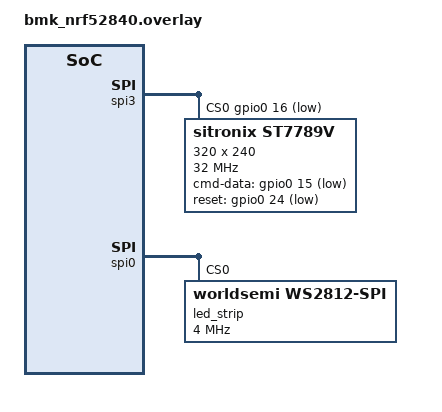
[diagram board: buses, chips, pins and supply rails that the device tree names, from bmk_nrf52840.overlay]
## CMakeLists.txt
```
# SPDX-License-Identifier: Apache-2.0

cmake_minimum_required(VERSION 3.20.0)
find_package(Zephyr REQUIRED HINTS $ENV{ZEPHYR_BASE})
project(bmk_firmware)

FILE(GLOB app_sources src/*.c)
target_sources(app PRIVATE
  src/main.c
  src/board.c
  src/matrix_keyboard.c
  src/led.c
  src/display.c
  src/i2c_devices.c
  src/charger.c
  src/lis2dh/lis2dh.c
  src/max17048/max17048.c
  src/pictures/gta_picture.c
  src/pictures/vsc_picture.c
  src/pictures/altium_picture.c
  src/pictures/logo_picture.c
  src/pictures/ble_picture.c
  src/pictures/battery_picture.c
  src/pictures/plug_picture.c

)
```

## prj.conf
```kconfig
#
# Copyright (c) 2018 Nordic Semiconductor
#
# SPDX-License-Identifier: LicenseRef-Nordic-5-Clause
#

CONFIG_NCS_SAMPLES_DEFAULTS=y

CONFIG_NFCT_PINS_AS_GPIOS=y

# Enable RTT LOGGING
#CONFIG_USE_SEGGER_RTT=y
#CONFIG_LOG=y
#CONFIG_CONSOLE=y
#CONFIG_RTT_CONSOLE=y

CONFIG_BT=y
#CONFIG_BT_DEBUG_LOG=y
CONFIG_BT_MAX_CONN=2
CONFIG_BT_MAX_PAIRED=2
CONFIG_BT_SMP=y
CONFIG_BT_L2CAP_TX_BUF_COUNT=5
CONFIG_BT_PERIPHERAL=y
CONFIG_BT_DEVICE_NAME="BMK keyboard"
CONFIG_BT_DEVICE_APPEARANCE=961

CONFIG_BT_BAS=y
CONFIG_BT_HIDS=y
CONFIG_BT_HIDS_MAX_CLIENT_COUNT=2
CONFIG_BT_HIDS_DEFAULT_PERM_RW_ENCRYPT=y
CONFIG_BT_GATT_UUID16_POOL_SIZE=40
CONFIG_BT_GATT_CHRC_POOL_SIZE=20

CONFIG_BT_CONN_CTX=y

CONFIG_BT_DIS=y
CONFIG_BT_DIS_PNP=y
CONFIG_BT_DIS_MANUF="NordicSemiconductor"
CONFIG_BT_DIS_PNP_VID_SRC=2
CONFIG_BT_DIS_PNP_VID=0x1915
CONFIG_BT_DIS_PNP_PID=0xEEEF
CONFIG_BT_DIS_PNP_VER=0x0100

CONFIG_SYSTEM_WORKQUEUE_STACK_SIZE=2048

CONFIG_BT_SETTINGS=y
CONFIG_FLASH=y
CONFIG_FLASH_PAGE_LAYOUT=y
CONFIG_FLASH_MAP=y
CONFIG_NVS=y
CONFIG_SETTINGS=y

# POWER MANAGEMENT
CONFIG_PM_DEVICE=y

# LED STRIP config
CONFIG_LED_STRIP=y
CONFIG_LED_STRIP_LOG_LEVEL_DBG=n
CONFIG_WS2812_STRIP=y
CONFIG_WS2812_STRIP_SPI=y

# SPI config
CONFIG_SPI=y
CONFIG_SPI_NRFX=y
CONFIG_SPI_NRFX_RAM_BUFFER_SIZE=32

# DISPLAY config
CONFIG_ST7789V=y
CONFIG_ST7789V_RGB565=y
CONFIG_DISPLAY=y
#CONFIG_DISPLAY_LOG_LEVEL_ERR=y

# LVGL config
CONFIG_LVGL=y
CONFIG_LV_COLOR_16_SWAP=y
CONFIG_LV_USE_LABEL=y
CONFIG_LV_FONT_DEFAULT_MONTSERRAT_24=y

# LED PWM
CONFIG_PWM=y
CONFIG_LED=y

# I2C
CONFIG_I2C=y
```

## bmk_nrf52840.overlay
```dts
/*
* BMK Board			ST7789V (320x240 color) 
* 
* P0.24 			RST
* P0.15 			DC (DATA/CMD)
* P0.20 			SCL
* P0.21 			SDA
* P0.16 			CS	
*/

#include <zephyr/dt-bindings/led/led.h>

#define SPI_FREQ    4000000
#define ZERO_FRAME  0x40
#define ONE_FRAME   0x70

/ {
   chosen {
	   zephyr,display = &st7789v;
   };
};

&spi3 {
	compatible = "nordic,nrf-spim";
	status = "okay";
	pinctrl-0 = <&spi3_default>;
	pinctrl-1 = <&spi3_sleep>;
	cs-gpios = <&gpio0 16 GPIO_ACTIVE_LOW>;
	pinctrl-names = "default", "sleep";
	
	st7789v: st7789v@0 {
		compatible = "sitronix,st7789v";
		label = "ST7789V";
		spi-max-frequency = <32000000>;
		reg = <0>;
		cmd-data-gpios = <&gpio0 15 GPIO_ACTIVE_LOW>;
		reset-gpios = <&gpio0 24 GPIO_ACTIVE_LOW>;
		width = <320>;
		height = <240>;
		x-offset = <0>;
		y-offset = <0>;
		vcom = <0x19>;
		gctrl = <0x35>;
		vrhs = <0x12>;
		vdvs = <0x20>;
		mdac = <0xA0>;
		lcm = <0x2c>;
		colmod = <0x55>;
		gamma = <0x01>;
		porch-param = [0c 0c 00 33 33];
		cmd2en-param = [5a 69 02 01];
		pwctrl1-param = [a4 a1];
		pvgam-param = [D0 04 0D 11 13 2B 3F 54 4C 18 0D 0B 1F 23];
		nvgam-param = [D0 04 0C 11 13 2C 3F 44 51 2F 1F 1F 20 23];
		ram-param = [00 F0];
		rgb-param = [CD 08 14];
	};

};

&spi0 { 
	compatible = "nordic,nrf-spim";
	led_strip: ws2812@0 {
		compatible = "worldsemi,ws2812-spi";

		/* SPI */
		reg = <0>; /* ignored, but necessary for SPI bindings */
		spi-max-frequency = <SPI_FREQ>;

		/* WS2812 */
		chain-length = <10>; /* arbitrary; change at will */
		color-mapping = <LED_COLOR_ID_GREEN
				 LED_COLOR_ID_RED
				 LED_COLOR_ID_BLUE>;
		spi-one-frame = <ONE_FRAME>;
		spi-zero-frame = <ZERO_FRAME>;
	};
};

/ {
	aliases {
		led-strip = &led_strip;
	};
};
```

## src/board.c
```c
//---------------------------------------------------------------------------
// Includes
//---------------------------------------------------------------------------
#include <zephyr/types.h>
#include <zephyr/device.h>
#include <zephyr/devicetree.h>
#include <stddef.h>
#include <string.h>
#include <errno.h>
#include <zephyr/sys/printk.h>
#include <zephyr/sys/byteorder.h>
#include <zephyr/kernel.h>
#include <zephyr/drivers/gpio.h>
#include <soc.h>

#include <zephyr/bluetooth/bluetooth.h>
#include <zephyr/bluetooth/hci.h>
#include <zephyr/bluetooth/conn.h>
#include <zephyr/bluetooth/uuid.h>
#include <zephyr/bluetooth/gatt.h>

#include <zephyr/settings/settings.h>

#include <zephyr/sys/printk.h>
#include <zephyr/logging/log.h>

#include "main.h"
#include "board.h"

//---------------------------------------------------------------------------
// Definitions 
//---------------------------------------------------------------------------
const struct gpio_dt_spec led_red = GPIO_DT_SPEC_GET(LEDR_NODE, gpios);
const struct gpio_dt_spec led_green = GPIO_DT_SPEC_GET(LEDG_NODE, gpios);
const struct gpio_dt_spec led_blue = GPIO_DT_SPEC_GET(LEDB_NODE, gpios);

const struct gpio_dt_spec enusbdet = GPIO_DT_SPEC_GET(ENUSBDET_NODE, gpios);
const struct gpio_dt_spec usbdet = GPIO_DT_SPEC_GET(USBDET_NODE, gpios);

const struct gpio_dt_spec chrgdet = GPIO_DT_SPEC_GET(CHRGDET_NODE, gpios);
const struct gpio_dt_spec chrgen = GPIO_DT_SPEC_GET(CHRGEN_NODE, gpios);

const struct gpio_dt_spec vleden = GPIO_DT_SPEC_GET(VLEDEN_NODE, gpios);

const struct gpio_dt_spec buzzer = GPIO_DT_SPEC_GET(BUZZER_NODE, gpios);

const struct gpio_dt_spec accelint1 = GPIO_DT_SPEC_GET(ACCEL1_NODE, gpios);
const struct gpio_dt_spec accelint2 = GPIO_DT_SPEC_GET(ACCEL2_NODE, gpios);

const struct gpio_dt_spec col1 = GPIO_DT_SPEC_GET(COL1_NODE, gpios);
const struct gpio_dt_spec col2 = GPIO_DT_SPEC_GET(COL2_NODE, gpios);
const struct gpio_dt_spec col3 = GPIO_DT_SPEC_GET(COL3_NODE, gpios);
const struct gpio_dt_spec col4 = GPIO_DT_SPEC_GET(COL4_NODE, gpios);
const struct gpio_dt_spec row1 = GPIO_DT_SPEC_GET(ROW1_NODE, gpios);
const struct gpio_dt_spec row2 = GPIO_DT_SPEC_GET(ROW2_NODE, gpios);
const struct gpio_dt_spec row3 = GPIO_DT_SPEC_GET(ROW3_NODE, gpios);

const struct gpio_dt_spec disprst = GPIO_DT_SPEC_GET(DISPRST_NODE, gpios);
const struct gpio_dt_spec dispbk = GPIO_DT_SPEC_GET(DISPBK_NODE, gpios);
const struct gpio_dt_spec dispdc = GPIO_DT_SPEC_GET(DISPDC_NODE, gpios);
const struct gpio_dt_spec dispcs = GPIO_DT_SPEC_GET(DISPCS_NODE, gpios);
//const struct gpio_dt_spec dispdata = GPIO_DT_SPEC_GET(DISPDATA_NODE, gpios);
//const struct gpio_dt_spec dispclk = GPIO_DT_SPEC_GET(DISPCLK_NODE, gpios);

//---------------------------------------------------------------------------
// Implementation 
//---------------------------------------------------------------------------
//===============================================================================================================
int gpio_init(void)
{
	int ret=0;

	if(!device_is_ready(col1.port)) return -1;
	if(!device_is_ready(col2.port)) return -1;
	if(!device_is_ready(col3.port)) return -1;
	if(!device_is_ready(col4.port)) return -1;
	if(!device_is_ready(row1.port)) return -1;
	if(!device_is_ready(row2.port)) return -1;
	if(!device_is_ready(row3.port)) return -1;				//czy to dla wszystkich pinow?

	ret = gpio_pin_configure_dt(&led_red, GPIO_OUTPUT);
	if(ret!=0) return ret;
	gpio_pin_set_dt(&led_red,0);

	ret = gpio_pin_configure_dt(&led_green, GPIO_OUTPUT);
	if(ret!=0) return ret;
	gpio_pin_set_dt(&led_green,0);

	ret = gpio_pin_configure_dt(&led_blue, GPIO_OUTPUT);
	if(ret!=0) return ret;
	gpio_pin_set_dt(&led_blue,0);

	ret = gpio_pin_configure_dt(&buzzer, GPIO_OUTPUT);
	if(ret!=0) return ret;
	gpio_pin_set_dt(&buzzer,0);

	ret = gpio_pin_configure_dt(&vleden, GPIO_OUTPUT);
	if(ret!=0) return ret;
	gpio_pin_set_dt(&vleden,0);

	ret = gpio_pin_configure_dt(&enusbdet, GPIO_OUTPUT);
	if(ret!=0) return ret;
	gpio_pin_set_dt(&enusbdet,0);

	ret = gpio_pin_configure_dt(&usbdet, GPIO_INPUT);
	if(ret!=0) return ret;
	
	charger_off();

	ret = gpio_pin_configure_dt(&chrgdet, GPIO_INPUT);
	if(ret!=0) return ret;

	ret = gpio_pin_configure_dt(&dispbk, GPIO_OUTPUT);
	if(ret!=0) return ret;
	gpio_pin_set_dt(&dispbk,0);

	ret = gpio_pin_configure_dt(&accelint1, GPIO_INPUT);
	if(ret!=0) return ret;

	ret = gpio_pin_configure_dt(&accelint2, GPIO_INPUT);
	if(ret!=0) return ret;

	ret = gpio_pin_configure_dt(&col1, GPIO_OUTPUT);
	if(ret!=0) return ret;
	gpio_pin_set_dt(&col1,1);

	ret = gpio_pin_configure_dt(&col2, GPIO_OUTPUT);
	if(ret!=0) return ret;
	gpio_pin_set_dt(&col2,1);
	
	ret = gpio_pin_configure_dt(&col3, GPIO_OUTPUT);
	if(ret!=0) return ret;
	gpio_pin_set_dt(&col3,1);

	ret = gpio_pin_configure_dt(&col4, GPIO_OUTPUT);
	if(ret!=0) return ret;
	gpio_pin_set_dt(&col4,1);

	ret = gpio_pin_configure_dt(&row1, GPIO_INPUT| GPIO_PULL_UP);
	if(ret!=0) return ret;
	ret = gpio_pin_configure_dt(&row2, GPIO_INPUT| GPIO_PULL_UP);
	if(ret!=0) return ret;
	ret = gpio_pin_configure_dt(&row3, GPIO_INPUT| GPIO_PULL_UP);
	if(ret!=0) return ret;

	return ret;
}

//===============================================================================================================
int charger_on(void)
{
	int ret=0;
	
	ret = gpio_pin_configure_dt(&chrgen, GPIO_OUTPUT);
	if(ret!=0) return ret;
	gpio_pin_set_dt(&chrgen,0);

	return 0;
}

//===============================================================================================================
int charger_off(void)
{
	int ret=0;
	ret = gpio_pin_configure_dt(&chrgen, GPIO_INPUT);
	return ret;
}

//===============================================================================================================
```

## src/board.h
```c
#ifndef BOARD_H__
#define BOARD_H__

//UNUSED PINS, BUT DEFINED
//SPI0, WS2812:
//MISO: P1.08 (SIO40)
//SCK:  P1.09 (SIO41)

//SPI3, LCD
//MISO: P0.14 (SIO14)

//sio26 
//sio28

//nrf_gpio_cfg_input(CHRG_MON, NRF_GPIO_PIN_PULLUP);
//nrf_gpio_cfg_input(USB_DETECT, NRF_GPIO_PIN_NOPULL);
//nrf_gpio_cfg_input(ACCEL_INT_1, NRF_GPIO_PIN_PULLDOWN);
//nrf_gpio_cfg_input(CHRG_PRG,NRF_GPIO_PIN_NOPULL);

//----------------------------------------------------------------- 
#define	LEDR_NODE		DT_ALIAS(ledr)
#define	LEDG_NODE		DT_ALIAS(ledg)
#define	LEDB_NODE		DT_ALIAS(ledb)

#define	ENUSBDET_NODE	DT_ALIAS(enusbdet)
#define	USBDET_NODE		DT_ALIAS(usbdet)

#define	CHRGEN_NODE		DT_ALIAS(chargeren)
#define	CHRGDET_NODE	DT_ALIAS(chargerdet)

#define	VLEDEN_NODE		DT_ALIAS(vleden)

#define	BUZZER_NODE		DT_ALIAS(buzzer)

#define	ACCEL1_NODE		DT_ALIAS(accelint1)
#define	ACCEL2_NODE		DT_ALIAS(accelint2)

#define	COL1_NODE		DT_ALIAS(col1)
#define	COL2_NODE		DT_ALIAS(col2)
#define	COL3_NODE		DT_ALIAS(col3)
#define	COL4_NODE		DT_ALIAS(col4)
#define	ROW1_NODE		DT_ALIAS(row1)
#define	ROW2_NODE		DT_ALIAS(row2)
#define	ROW3_NODE		DT_ALIAS(row3)

#define	DISPRST_NODE	DT_ALIAS(disprst)
#define	DISPBK_NODE		DT_ALIAS(dispbk)
#define	DISPCS_NODE		DT_ALIAS(dispcs)
#define	DISPDC_NODE		DT_ALIAS(dispdc)

//----------------------------------------------------------------- 
extern const struct gpio_dt_spec led_red;
extern const struct gpio_dt_spec led_green;
extern const struct gpio_dt_spec led_blue;

extern const struct gpio_dt_spec enusbdet;
extern const struct gpio_dt_spec usbdet;

extern const struct gpio_dt_spec chrgdet;
extern const struct gpio_dt_spec chrgen;

extern const struct gpio_dt_spec vleden;

extern const struct gpio_dt_spec buzzer;

extern const struct gpio_dt_spec accelint1;
extern const struct gpio_dt_spec accelint2;

extern const struct gpio_dt_spec col1;
extern const struct gpio_dt_spec col2;
extern const struct gpio_dt_spec col3;
extern const struct gpio_dt_spec col4;
extern const struct gpio_dt_spec row1;
extern const struct gpio_dt_spec row2;
extern const struct gpio_dt_spec row3;

extern const struct gpio_dt_spec disprst;
extern const struct gpio_dt_spec dispbk;
extern const struct gpio_dt_spec dispcs;
extern const struct gpio_dt_spec dispdc;

// #define     led_red_on()            gpio_pin_set_dt(&led_red,1);         //
// #define     led_red_off()           gpio_pin_set_dt(&led_red,0);
// #define     led_green_on()          gpio_pin_set_dt(&led_green,1);
// #define     led_green_off()         gpio_pin_set_dt(&led_green,0);
// #define     led_blue_on()           gpio_pin_set_dt(&led_blue,1);
// #define     led_blue_off()          gpio_pin_set_dt(&led_blue,0);

#define     usb_detection_on()      gpio_pin_set_dt(&enusbdet,1);
#define     usb_detection_off()     gpio_pin_set_dt(&enusbdet,0);

#define     vled_on()               gpio_pin_set_dt(&vleden,1);
#define     vled_off()              gpio_pin_set_dt(&vleden,0);

#define     lcd_backlight_on()      gpio_pin_set_dt(&dispbk,1)
#define     lcd_backlight_off()     gpio_pin_set_dt(&dispbk,0)

#define     RST_H()                 gpio_pin_set_dt(&disprst,1);
#define     RST_L()                 gpio_pin_set_dt(&disprst,0);

#define     DC_H()                  gpio_pin_set_dt(&dispdc,1);
#define     DC_L()                  gpio_pin_set_dt(&dispdc,0);

#define     CS_H()                  gpio_pin_set_dt(&dispcs,1);
#define     CS_L()                  gpio_pin_set_dt(&dispcs,0);

//----------------------------------------------------------------- 
int gpio_init(void);
int charger_on(void);
int charger_off(void);


#endif 
```

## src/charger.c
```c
//---------------------------------------------------------------------------
// Includes
//---------------------------------------------------------------------------
#include <stddef.h>
#include <string.h>
#include <errno.h>
#include <stdio.h>
#include <zephyr/kernel.h>
#include <zephyr/kernel_structs.h>
#include <zephyr/device.h>
#include <zephyr/types.h>
#include <zephyr/devicetree.h>
#include <zephyr/sys/byteorder.h>
#include <soc.h>
#include <assert.h>
#include <zephyr/spinlock.h>
#include <zephyr/settings/settings.h>

#include <zephyr/drivers/gpio.h>

#include <zephyr/sys/printk.h>
#include <zephyr/logging/log.h>

#include "charger.h"
#include "max17048/max17048.h"
#include "board.h"
#include "main.h"
#include "display.h"
#include "led.h"
#include "config_app.h"

#ifdef DEBUG_LOG_I2C_DEVICES
	LOG_MODULE_REGISTER(bmk_charger_devices,LOG_LEVEL_DBG);
#endif	

//---------------------------------------------------------------------------
// Global objects 
//---------------------------------------------------------------------------
charger_data_t      charger_data;

//==================================================================================================================================================
void thread_charger(void)
{
	while(1)
	{
		usb_detection_on();																		//turn on voltage divider

		if(gpio_pin_get_dt(&usbdet)==0)                                                			//USB disconnected
		{
			#ifdef DEBUG_LOG_CHARGE
				LOG_INF("USB DISCONNECTED\n");
			#endif
			
			charger_data.usb_status = USB_DISCONNECTED;
			charger_data.charger_status = CHARGER_DISABLE;
			charger_off();
			charger_data.charger_locked=false;

			charger_data.usb_pin_state=0;
			if(charger_data.usb_pin_old_state!=charger_data.usb_pin_state)						//detect when pin state is change
			{
				charger_data.usb_pin_old_state=charger_data.usb_pin_state;
				refresh_screen_flag=true;														//only once after connected usb cable
				refresh_led_flag=true;											
			}

		}
		else                                                                                	//USB connected
		{
			#ifdef DEBUG_LOG_CHARGER
				LOG_INF("USB CONNECTED\n");
			#endif

			charger_data.usb_pin_state=1;
			if(charger_data.usb_pin_old_state!=charger_data.usb_pin_state)						//detect when pin state is change
			{
				charger_data.usb_pin_old_state=charger_data.usb_pin_state;
				refresh_screen_flag=true;														//only once after disconnected usb cable
				refresh_led_flag=true;											
			}


			charger_data.usb_status = USB_CONNECTED;
			charger_on();

			if(gpio_pin_get_dt(&chrgdet)==0)                                              		//full charged
			{
				#ifdef DEBUG_LOG_CHARGER
					LOG_INF("BATTERY IS FULL\n");
				#endif

				charger_data.charged_counter++;

				if(charger_data.charged_counter>2)                                      		//nie pokazuj od razu ze naladowane                
				{
				 	charger_data.charger_status = CHARGER_DONE;
					charger_data.charger_locked=true;											//lock when charger finishing job	
				}

				charger_data.charging_pin_state=0;
				if(charger_data.charging_pin_old_state!=charger_data.charging_pin_state)    	//detect when pin state is change
				{
					charger_data.charging_pin_old_state=charger_data.charging_pin_state;
					refresh_screen_flag=true;													//only once after stop charging
					refresh_led_flag=true;
					led_pwm_counter=0;											
				}
			}
			else                                                                           	 	//still charging	
			{
				if(charger_data.charger_locked==false)											//only when charger is not locked
				{
					#ifdef DEBUG_LOG_CHARGER
						LOG_INF("CHARGING\n");
					#endif

					charger_data.charged_counter=0;
					charger_data.charger_status = CHARGER_CHARGING;	

					charger_data.charging_pin_state=1;
					if(charger_data.charging_pin_old_state!=charger_data.charging_pin_state)	//detect when pin state is change
					{
						charger_data.charging_pin_old_state=charger_data.charging_pin_state;
						refresh_screen_flag=true;												//only once after start charging
						refresh_led_flag=true;	
						led_pwm_counter=0;											
					}
				}
			}
		}
		usb_detection_off();																	//turn off voltage divider
		k_msleep(1000);

	}
}

//==================================================================================================================================================
```

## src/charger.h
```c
#ifndef CHARGER_H__
#define CHARGER_H__

//---------------------------------------------------------------------------
// Definitions 
//---------------------------------------------------------------------------
#define THREAD_CHARGER_PRIORITY 					7
#define THREAD_CHARGER_STACKSIZE       			    512

//------------------------------------------------------- usb & charger states
#define                 USB_DISCONNECTED            0
#define                 USB_CONNECTED               1

#define                 CHARGER_DISABLE             0
#define                 CHARGER_CHARGING            1
#define                 CHARGER_DONE                2

typedef struct charger_data_def
{
    uint32_t            usb_status;		                    //connected/disconnected 			    
    uint32_t            charger_status;					    //charging/cherged/disable    
    uint32_t            charged_counter;                    //auxliary counter
    uint32_t 			usb_pin_state;                      //generating event after usb state change
    uint32_t 			usb_pin_old_state;                  //
    uint32_t 			charging_pin_state;                 //generating event after charger state change
    uint32_t 			charging_pin_old_state;             //
    bool 				charger_locked;                     //true when charged first time, prevent continuous switch between charging and charged 
}charger_data_t;

//---------------------------------------------------------------------------
// Global objects 
//---------------------------------------------------------------------------
extern charger_data_t     charger_data;

//---------------------------------------------------------------------------
// Public functions
//---------------------------------------------------------------------------
void thread_charger(void);

#endif
```

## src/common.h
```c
#ifndef COMMON_H__
#define COMMON_H__

#define         RESULT_OK                       0
#define         RESULT_ERR                      1
#define         BUSY                            2
#define         TIMEOUT                         3    
#define         BAD_PARAMETER                   4    
#define         UNAVAILABLE                     5
#define         INVALID_COMMAND                 6
#define         INVALID_PARAMETER               7
#define         INVALID_DATA_LENGHT             8    
#define         INVALID_STATE                   9
#define         TERMINATED                      10
#define         SUSPENDED                       11

#endif
```

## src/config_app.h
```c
#ifndef CONFIG_APP_H__
#define CONFIG_APP_H__

//======================================================= APPLICATION FEATURES
#define	        USE_DISPLAY                     1
#ifdef          USE_DISPLAY
    #define	    USE_GTA_PICTURE                 1
    #define	    USE_ALTIUM_PICTURE              1
    #define	    USE_VSC_PICTURE                 1
    #define	    USE_LOGO_PICTURE                1
    #define	    USE_BLE_PICTURE                 1
    #define	    USE_BATTERY_PICTURE             1
    #define	    USE_PLUG_PICTURE                1
#endif

#define         USE_BLE                         1 
#define         USE_MATRIX_KEYBOARD             1
#define	        USE_USB                         1
#define	        USE_CHARGER                     1
#define	        USE_LIS2DH                      1
#define	        USE_MAX17048                    1
#define	        USE_LED                         1

//======================================================= APPLICATION TEST
//#define         MAKE_TEST                       1             
#ifdef          MAKE_TEST
    #define     MAKE_LED_PWM_TEST               1 
    #define     MAKE_LED_STRIP_TEST             1 
#endif

//======================================================= APPLICATION DEBUG LOGGER
//#define         DEBUG_LOG_APP                   1
#ifdef          DEBUG_LOG_APP                     
    #define     DEBUG_LOG_HID                   1
    #define     DEBUG_LOG_DEVICE                1
    #define     DEBUG_LOG_MATRIX_KEYBOARD       1
    //#define     DEBUG_LOG_LED                   1
    #define     DEBUG_LOG_LIS2DH                1
    #define     DEBUG_LOG_MAX17048              1
    #define     DEBUG_LOG_I2C_DEVICES           1
    //#define     DEBUG_LOG_USB                   1
    //#define     DEBUG_LOG_CHARGER               1

#endif

//======================================================= APPLICATION SETTINGS 
#define         ACCEL_SENS                      110
#define         DEVICE_ACTIVE_TIME              50
#define         DISPLAY_TO_DEFAULT_TIME         50
#define         BAS_TIME                        100

//======================================================= 

#endif
```

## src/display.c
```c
//---------------------------------------------------------------------------
// Includes
//---------------------------------------------------------------------------
#include <stddef.h>
#include <string.h>
#include <errno.h>
#include <stdio.h>

#include <zephyr/kernel.h>
#include <zephyr/kernel_structs.h>
#include <zephyr/device.h>
#include <zephyr/types.h>
#include <zephyr/devicetree.h>
#include <zephyr/sys/byteorder.h>
#include <soc.h>
#include <assert.h>
#include <zephyr/spinlock.h>
#include <zephyr/settings/settings.h>
#include <zephyr/pm/pm.h>
#include <zephyr/pm/device.h>

#include <zephyr/drivers/gpio.h>
#include <zephyr/drivers/display.h>

#include <lvgl.h>

#include <zephyr/sys/printk.h>
#include <zephyr/logging/log.h>

#include "main.h"
#include "version.h"
#include "board.h"
#include "display.h"
#include "led.h"
#include "matrix_keyboard.h"
#include "config_app.h"
#include "i2c_devices.h"
#include "charger.h"

const struct device *display_dev;
const struct device *const spi3_dev = DEVICE_DT_GET(DT_NODELABEL(spi3));

uint32_t lcd_tmp=10;
uint8_t display_theme;

size_t cursor = 0, color = 0;
int rc;

bool refresh_screen_flag;

//------------------------------------------------------- strings
const char str_pairing[] ={"Pairing keyboard?"};
const char str_ok[] ={"OK"};
const char str_no[] ={"No"};
const char str_pairing_ok[] ={"Keyboard paired"};
const char str_pairing_err[] ={"Pairing error"};
const char str_pairing_canceled[] ={"Pairing canceled"};

LOG_MODULE_REGISTER(my_bmk_lcd,LOG_LEVEL_DBG);


#ifdef USE_DISPLAY
//==================================================================================================================================================
static uint32_t get_color_value(uint8_t battery_val)
{
	if (battery_val < 6) return 0xFF0000;
	if (battery_val < 16) return 0xFFFF00;
	return 0x00FF00;
}

//==================================================================================================================================================
static void display_battery(uint8_t battery_val)				//dispaly battery and usb plug icons
{
    uint32_t color;
    uint8_t bat;
    unsigned char digits[3], tmp, i;

//-------------------------------------------------------------- battery value to string
    bat=battery_val;
    for(i=0;i<3;i++)
    {
        tmp=bat%10;
        bat/=10;
        digits[2-i]=tmp+0x30;
    }

//-------------------------------------------------------------- battery value font color    
	color = get_color_value(battery_val);
    
    if(digits[0]=='0')
    {
        digits[0]=' ';
        if(digits[1]=='0') 
        {
            digits[1]=' ';        
        }
    }
//-------------------------------------------------------------- battery icon
	LV_IMG_DECLARE(battery_cold);
	lv_obj_t * img1 = lv_img_create(lv_scr_act());
	
	lv_img_set_src(img1, &battery_cold);
	lv_obj_align(img1, LV_ALIGN_CENTER, 0, -44);
	lv_obj_set_size(img1, 80, 32);

//-------------------------------------------------------------- usb plug icon
	LV_IMG_DECLARE(plug_hot);
	LV_IMG_DECLARE(plug_cold);
	lv_obj_t * img2 = lv_img_create(lv_scr_act());
	
	if(charger_data.usb_status==USB_CONNECTED)
	{
		if(charger_data.charger_status==CHARGER_CHARGING)
		{
			lv_img_set_src(img2, &plug_hot);	
		}
		else
		{
			lv_img_set_src(img2, &plug_cold);
		}	
		
	    lv_obj_align(img2, LV_ALIGN_CENTER, 100, -44);
		lv_obj_set_size(img2, 88, 36);
	}

//-------------------------------------------------------------- charging value text
	lv_obj_t * label3 = lv_label_create(lv_scr_act());
	lv_label_set_recolor(label3, true);
	lv_label_set_text(label3, digits);
	lv_obj_set_style_text_color(lv_scr_act(), lv_color_hex(color), LV_PART_MAIN);
	
	if(digits[0]=='1')											//position correction
	{
		lv_obj_align(label3, LV_ALIGN_CENTER, 5, -44);	
	}
	else
	{
		lv_obj_align(label3, LV_ALIGN_CENTER, 3, -44);
	}
}

//==================================================================================================================================================
static void display_pairing(void)
{
	lv_obj_clean(lv_scr_act());
	lv_obj_t * label1 = lv_label_create(lv_scr_act());			
	lv_obj_t * label2 = lv_label_create(lv_scr_act());
	lv_obj_t * label3 = lv_label_create(lv_scr_act());
	lv_label_set_recolor(label1, true); lv_label_set_recolor(label2, true); lv_label_set_recolor(label3, true);
	
	lv_label_set_text(label1, str_pairing);
	lv_obj_set_style_text_color(label1, lv_color_hex(0xffffff), LV_PART_MAIN);
	lv_obj_align(label1, LV_ALIGN_CENTER, 0, -30);
	
	lv_label_set_text(label2, str_ok);
	lv_obj_set_style_text_color(label2, lv_color_hex(0x00ff00), LV_PART_MAIN);
	lv_obj_align(label2, LV_ALIGN_CENTER, -70, 50);

	lv_label_set_text(label3, str_no);
	lv_obj_set_style_text_color(label3, lv_color_hex(0xff0000), LV_PART_MAIN);
	lv_obj_align(label3, LV_ALIGN_CENTER, 70, 50);

	lv_task_handler();
	display_blanking_off(display_dev);
	lcd_pairing_state=PAIRING_ON_DISPLAY;
	lcd_backlight_on();
}

//==================================================================================================================================================
static void display_paired(void)
{
	lv_obj_clean(lv_scr_act());
	lv_obj_t * label1 = lv_label_create(lv_scr_act());			
	lv_label_set_recolor(label1, true); 
	
	lv_label_set_text(label1, str_pairing_ok);
	lv_obj_set_style_text_color(label1, lv_color_hex(0x00ff00), LV_PART_MAIN);
	lv_obj_align(label1, LV_ALIGN_CENTER, 0, 0);

	lv_task_handler();
	display_blanking_off(display_dev);
	lcd_pairing_state=PAIRED_ON_DISPLAY;
	lcd_backlight_on();
}

//==================================================================================================================================================
static void display_canceled(void)
{
	lv_obj_clean(lv_scr_act());
	lv_obj_t * label1 = lv_label_create(lv_scr_act());			
	lv_label_set_recolor(label1, true); 
	
	lv_label_set_text(label1, str_pairing_canceled);
	lv_obj_set_style_text_color(label1, lv_color_hex(0xff0000), LV_PART_MAIN);
	lv_obj_align(label1, LV_ALIGN_CENTER, 0, 0);

	lv_task_handler();
	display_blanking_off(display_dev);
	lcd_pairing_state=PAIRING_CANCELED_ON_DISPLAY;
	lcd_backlight_on();
}

//==================================================================================================================================================
void display_info_screen(void)
{
	display_theme=device_theme;
	lv_obj_clean(lv_scr_act());

	LV_IMG_DECLARE(logo);										//logo icon
	lv_obj_t * img1 = lv_img_create(lv_scr_act());
	lv_img_set_src(img1, &logo);
	lv_obj_align(img1, LV_ALIGN_CENTER, -120, 0);
	lv_obj_set_size(img1, 80, 80);
	
	LV_IMG_DECLARE(ble);										//ble icon
	img1 = lv_img_create(lv_scr_act());
	lv_img_set_src(img1, &ble);
	lv_obj_align(img1, LV_ALIGN_CENTER, 110, 40);
	lv_obj_set_size(img1, 48, 64);

	lv_obj_t * label1 = lv_label_create(lv_scr_act());			//version and date	
	lv_obj_t * label2 = lv_label_create(lv_scr_act());
	lv_label_set_recolor(label1, true);
	lv_label_set_recolor(label2, true);
	
	lv_label_set_text(label1, STR_VER);
	lv_obj_set_style_text_color(label1, lv_color_hex(0xffffff), LV_PART_MAIN);
	lv_obj_align(label1, LV_ALIGN_CENTER, 0, 20);
	
	lv_label_set_text(label2, STR_DATE);
	lv_obj_set_style_text_color(label2, lv_color_hex(0xffffff), LV_PART_MAIN);
	lv_obj_align(label2, LV_ALIGN_CENTER, 0, 50);
	
	display_battery(max17048_charge);							//battery and usb cable

	lv_task_handler();											//on screen
	display_blanking_off(display_dev);
	
	lcd_backlight_on();		
}
#endif

//==================================================================================================================================================
void thread_lcd(void)
{
//-------------------------------------------------------------------------------------- display init
	display_dev = DEVICE_DT_GET(DT_CHOSEN(zephyr_display));	

	if (!device_is_ready(display_dev)) 
	{
		LOG_ERR("Device not ready, aborting test");
		return;
	}
	lcd_backlight_on();

// -------------------------------------------------------------- 			
	lv_obj_set_style_bg_color(lv_scr_act(), lv_color_hex(0x000000), LV_PART_MAIN);

	LV_IMG_DECLARE(logo);
	lv_obj_t * img1 = lv_img_create(lv_scr_act());
	lv_img_set_src(img1, &logo);
	lv_obj_align(img1, LV_ALIGN_CENTER, 0, 0);
	lv_obj_set_size(img1, 240, 160);
	lv_task_handler();
	display_blanking_off(display_dev);
    
	while(1)
	{
//-------------------------------------------------------------------------------------- pairing process
		if(lcd_pairing_state!=NO_ACTION)
		{
	 		if(lcd_pairing_state==PAIRING)
			{
				//pm_device_action_run(spi3_dev, PM_DEVICE_ACTION_RESUME);
				//pm_device_action_run(display_dev, PM_DEVICE_ACTION_RESUME);

				display_pairing();
			}

			else if(lcd_pairing_state==PAIRED)
			{
				//pm_device_action_run(spi3_dev, PM_DEVICE_ACTION_RESUME);
				//pm_device_action_run(display_dev, PM_DEVICE_ACTION_RESUME);

				display_paired();
			}
			
			else if(lcd_pairing_state==PAIRING_CANCELED)
			{
				//pm_device_action_run(spi3_dev, PM_DEVICE_ACTION_RESUME);
				//pm_device_action_run(display_dev, PM_DEVICE_ACTION_RESUME);

				display_canceled();
			}
		}
		else
		{	
//-------------------------------------------------------------------------------------- themes			
			if((device_theme!=display_theme)||(refresh_screen_flag==true))
			{
				refresh_screen_flag=false;
//-------------------------------------------------------------------------------------- gta theme
				if(device_theme==THEME_GTA)
				{
					//pm_device_action_run(spi3_dev, PM_DEVICE_ACTION_RESUME);
					//pm_device_action_run(display_dev, PM_DEVICE_ACTION_RESUME);

					display_theme=device_theme;									
					LV_IMG_DECLARE(gta);
					lv_obj_t * img1 = lv_img_create(lv_scr_act());
					lv_img_set_src(img1, &gta);
					lv_obj_align(img1, LV_ALIGN_CENTER, 0, 0);
					lv_obj_set_size(img1, 320, 190);
					lv_task_handler();
					display_blanking_off(display_dev);
					lcd_backlight_on();
				}

//-------------------------------------------------------------------------------------- altium theme			
				if(device_theme==THEME_ALTIUM)
				{
					//pm_device_action_run(spi3_dev, PM_DEVICE_ACTION_RESUME);
					//pm_device_action_run(display_dev, PM_DEVICE_ACTION_RESUME);

					display_theme=device_theme;
					lv_obj_clean(lv_scr_act());
					LV_IMG_DECLARE(altium);
					lv_obj_t * img1 = lv_img_create(lv_scr_act());
					lv_img_set_src(img1, &altium);
					lv_obj_align(img1, LV_ALIGN_CENTER, 0, 0);
					lv_obj_set_size(img1, 220, 160);
					lv_task_handler();
					display_blanking_off(display_dev);
					lcd_backlight_on();
				}

//-------------------------------------------------------------------------------------- vsc theme			
				if(device_theme==THEME_VSC)
				{
					//pm_device_action_run(spi3_dev, PM_DEVICE_ACTION_RESUME);
					//pm_device_action_run(display_dev, PM_DEVICE_ACTION_RESUME);

					display_theme=device_theme;
					lv_obj_clean(lv_scr_act());
					LV_IMG_DECLARE(vsc);
					lv_obj_t * img1 = lv_img_create(lv_scr_act());
					lv_img_set_src(img1, &vsc);
					lv_obj_align(img1, LV_ALIGN_CENTER, 0, 0);
					lv_obj_set_size(img1, 220, 160);
					lv_task_handler();
					display_blanking_off(display_dev);
					lcd_backlight_on();
				}

//-------------------------------------------------------------------------------------- info theme			
				if(device_theme==THEME_INFO)
				{
					//pm_device_action_run(spi3_dev, PM_DEVICE_ACTION_RESUME);
					//pm_device_action_run(display_dev, PM_DEVICE_ACTION_RESUME);
					display_info_screen();									
				}	

//-------------------------------------------------------------------------------------- no theme			
				if(device_theme==NO_THEME)
				{
					lcd_backlight_off();
					display_theme=device_theme;
					
					display_blanking_off(display_dev);
					//pm_device_action_run(display_dev, PM_DEVICE_ACTION_SUSPEND);
					//pm_device_action_run(spi3_dev, PM_DEVICE_ACTION_SUSPEND);
				
				}
			}
		}
		k_msleep(100);
	}																					//end while(1)
}

//==================================================================================================================================================
```

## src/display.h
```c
#ifndef LCD_H__
#define LCD_H__

//------------------------------------------------------- thread
#define     THREAD_LCD_PRIORITY 			7
#define     THREAD_LCD_STACKSIZE       		2048

extern uint8_t display_theme;
extern bool refresh_screen_flag;

//------------------------------------------------------- public functions
void display_info_screen(void);
void thread_lcd(void);



#endif
```

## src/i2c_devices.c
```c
//---------------------------------------------------------------------------
// Includes
//---------------------------------------------------------------------------
#include <stddef.h>
#include <string.h>
#include <errno.h>
#include <stdio.h>

#include <zephyr/kernel.h>
#include <zephyr/kernel_structs.h>
#include <zephyr/device.h>
#include <zephyr/types.h>
#include <zephyr/devicetree.h>
#include <zephyr/sys/byteorder.h>
#include <soc.h>
#include <assert.h>
#include <zephyr/spinlock.h>
#include <zephyr/settings/settings.h>
#include <zephyr/device.h>
#include <zephyr/drivers/i2c.h>
#include <zephyr/drivers/gpio.h>

#include <zephyr/pm/pm.h>
#include <zephyr/pm/device.h>

#include <zephyr/sys/printk.h>
#include <zephyr/logging/log.h>

#include "main.h"
#include "board.h"
#include "config_app.h"
#include "i2c_devices.h"
#include "lis2dh/lis2dh.h"
#include "max17048/max17048.h"
#include "charger.h"

//---------------------------------------------------------------------------
// Definitions 
//---------------------------------------------------------------------------
#ifdef DEBUG_LOG_I2C_DEVICES
	LOG_MODULE_REGISTER(bmk_i2c_devices,LOG_LEVEL_DBG);
#endif	

//---------------------------------------------------------------------------
// Local objects 
//---------------------------------------------------------------------------
static uint32_t max17048_read_counter;
static uint32_t max17048_voltage;

const struct device *const i2c1_1_dev = DEVICE_DT_GET(DT_NODELABEL(i2c1));
//---------------------------------------------------------------------------
// Global objects 
//---------------------------------------------------------------------------
uint8_t max17048_charge;

//---------------------------------------------------------------------------
// Implementation 
//---------------------------------------------------------------------------
//=================================================================================================================
void thread_i2c_devices(void)
{
	#if defined(USE_LIS2DH) || defined(USE_MAX17048)
		i2c_init();
	#endif	

	#ifdef USE_LIS2DH
	 	accel_movement_detect(ACCEL_SENS);
	#endif

	#ifdef USE_MAX17048
		MAX17048GetCharge(&max17048_charge);
	#endif
	
	pm_device_action_run(i2c1_1_dev, PM_DEVICE_ACTION_SUSPEND);
	
	while(1)
	{
		#ifdef USE_MAX17048
			max17048_read_counter++;
			if(max17048_read_counter>30)
			{
				pm_device_action_run(i2c1_1_dev, PM_DEVICE_ACTION_RESUME);
				i2c_init();

				max17048_read_counter=0;
				MAX17048GetVoltage(&max17048_voltage);
				MAX17048GetCharge(&max17048_charge);

				pm_device_action_run(i2c1_1_dev, PM_DEVICE_ACTION_SUSPEND);

				if((max17048_charge>94)&&(charger_data.charger_status == CHARGER_DISABLE))		//correction
				{
					max17048_charge=98;
					#ifdef DEBUG_LOG_MAX17048
						LOG_INF("98");
					#endif
				}

				if((max17048_charge>95)&&(charger_data.charger_status == CHARGER_CHARGING))		//correction
				{
					max17048_charge=99;
					#ifdef DEBUG_LOG_MAX17048
						LOG_INF("99");
					#endif
				}

				if((max17048_charge>90)&&(charger_data.charger_status == CHARGER_DONE))			//correction
				{
					max17048_charge=100;
					#ifdef DEBUG_LOG_MAX17048
						LOG_INF("100");
					#endif
				}

				#ifdef DEBUG_LOG_MAX17048
					LOG_INF("VOLTAGE: %dmV \n", max17048_voltage);
					LOG_INF("CHARGE: %d%% \n", max17048_charge);
				#endif

			}
		#endif

		#ifdef USE_LIS2DH
			if(gpio_pin_get_dt(&accelint1))
			{
				lis_int1_flag=true;
				#ifdef DEBUG_LOG_LIS2DH
					LOG_INF("LIS2DH INTERRUPT 1\n");
				#endif
			}
		#endif

		k_msleep(1000);
	}

}

//=================================================================================================================
```

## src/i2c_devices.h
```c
#ifndef I2C_DEVICES_H__
#define I2C_DEVICES_H__

//---------------------------------------------------------------------------
// Definitions 
//---------------------------------------------------------------------------
#define THREAD_I2C_DEVICES_PRIORITY 					7
#define THREAD_I2C_DEVICES_STACKSIZE          			512

//---------------------------------------------------------------------------
// Global objects 
//---------------------------------------------------------------------------
extern uint8_t max17048_charge;

//---------------------------------------------------------------------------
// Global functions
//---------------------------------------------------------------------------
void thread_i2c_devices(void);

#endif
```

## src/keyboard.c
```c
#include <stddef.h>
#include <string.h>
#include <errno.h>
#include <stdio.h>
#include "keyboard.h"
#include "board.h"

#include <zephyr/kernel.h>
#include <zephyr/kernel_structs.h>
#include <zephyr/device.h>
#include <zephyr/types.h>
#include <zephyr/devicetree.h>
#include <zephyr/sys/byteorder.h>
#include <soc.h>
#include <assert.h>
#include <zephyr/spinlock.h>
#include <zephyr/settings/settings.h>

#include <zephyr/drivers/gpio.h>

#include <zephyr/sys/printk.h>
#include <zephyr/logging/log.h>

uint32_t key_pressed;

LOG_MODULE_REGISTER(my_bmk_keyboard,LOG_LEVEL_DBG);

//==================================================================================================================================================
static uint32_t check_keyboard(void)
{
	uint32_t result;
	result=0;

//----------------------------------------------------
	gpio_pin_set_dt(&col1,0);

	if(gpio_pin_get_dt(&row1)==0)	result = 1;
	if(gpio_pin_get_dt(&row2)==0)	result = 4;
	if(gpio_pin_get_dt(&row3)==0)	result = 8;

	gpio_pin_set_dt(&col1,1);

//----------------------------------------------------
	gpio_pin_set_dt(&col2,0);

	if(gpio_pin_get_dt(&row1)==0)	result = 2;
	if(gpio_pin_get_dt(&row2)==0)	result = 5;
	if(gpio_pin_get_dt(&row3)==0)	result = 9;

	gpio_pin_set_dt(&col2,1);

//----------------------------------------------------
	gpio_pin_set_dt(&col3,0);

	if(gpio_pin_get_dt(&row1)==0)	result = 3;
	if(gpio_pin_get_dt(&row2)==0)	result = 6;
	if(gpio_pin_get_dt(&row3)==0)	result = 10;

	gpio_pin_set_dt(&col3,1);

//----------------------------------------------------
	gpio_pin_set_dt(&col4,0);

	if(gpio_pin_get_dt(&row2)==0)	result = 7;

	gpio_pin_set_dt(&col4,1);

	return result;
}	

//==================================================================================================================================================
void thread_keyboard(void)
{
	while(1)
	{
		key_pressed = check_keyboard();
		if(key_pressed!=0)
		{
            k_msleep(10);
            if(key_pressed==0)
            {
                key_pressed=0;
            }
			LOG_INF("KEY: %d\n",key_pressed);
		}

		k_msleep(100);
	}

}

//==================================================================================================================================================
```

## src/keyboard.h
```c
#ifndef KEYBOARD_H__
#define KEYBOARD_H__



#endif
```
